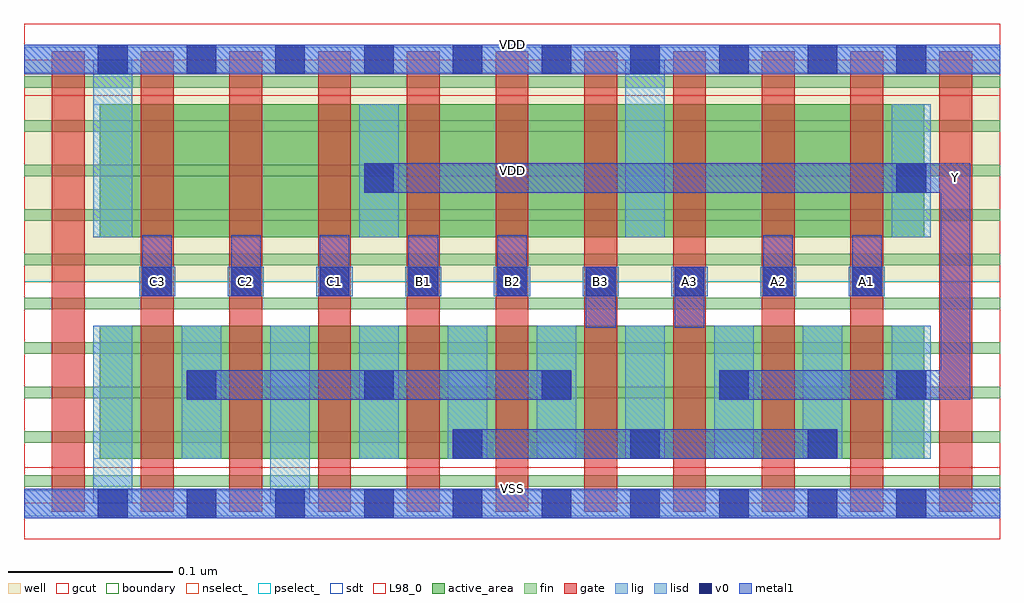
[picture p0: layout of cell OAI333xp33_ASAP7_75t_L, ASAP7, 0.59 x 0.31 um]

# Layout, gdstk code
import gdstk
lib = gdstk.Library(unit=1e-6, precision=2.5e-10)
def R(c, l, rs):  # rectangles x0, y0, x1, y1
    for r in rs: c.add(gdstk.rectangle(r[:2], r[2:], *l))
def A(c, l, x, y, w, h, nx, ny, dx, dy):  # array of equal rectangles
    R(c, l, [(x+i*dx, y+j*dy, x+i*dx+w, y+j*dy+h) for i in range(nx) for j in range(ny)])
def P(c, l, *ps):  # polygons
    for p in ps: c.add(gdstk.Polygon(p, *l))
well = (1, 0)
fin = (2, 0)
gate = (7, 0)
gcut = (10, 0)
active_area = (11, 0)
nselect_ = (12, 0)
pselect_ = (13, 0)
lig = (16, 0)
lisd = (17, 0)
v0 = (18, 0)
metal1 = (19, 0)
sdt = (88, 0)
L98_0 = (98, 0)
boundary = (100, 0)

oai333xp33_asap7_75t_l = lib.new_cell('OAI333xp33_ASAP7_75t_L')
R(oai333xp33_asap7_75t_l, well, [(0,0.135,0.594,0.27)])
A(oai333xp33_asap7_75t_l, fin, 0, 0.01, 0.594, 0.007, 1, 10, 0, 0.027)
A(oai333xp33_asap7_75t_l, gate, 0.017, -0.005, 0.02, 0.28, 11, 1, 0.054, 0)
R(oai333xp33_asap7_75t_l, gcut, [(0,-0.022,0.594,0.022), (0,0.248,0.594,0.292)])
R(oai333xp33_asap7_75t_l, active_area, [(0.046,0.027,0.548,0.108), (0.046,0.162,0.548,0.243)])
R(oai333xp33_asap7_75t_l, nselect_, [(0,0,0.594,0.135)])
R(oai333xp33_asap7_75t_l, pselect_, [(0,0.135,0.594,0.27)])
A(oai333xp33_asap7_75t_l, lig, 0.07, 0.126, 0.022, 0.018, 9, 1, 0.054, 0)
R(oai333xp33_asap7_75t_l, lig, [(0,-0.008,0.594,0.008), (0,0.262,0.594,0.278)])
A(oai333xp33_asap7_75t_l, lisd, 0.204, 0.027, 0.024, 0.081, 7, 1, 0.054, 0)
R(oai333xp33_asap7_75t_l, lisd, [(0.042,0,0.066,0.108), (0.042,0,0.066,0.108), (0.15,0,0.174,0.108), (0.15,0,0.174,0.108), (0.096,0.027,0.12,0.108), (0.042,0.162,0.066,0.27), (0.042,0.162,0.066,0.27), (0.204,0.162,0.228,0.243), (0.366,0.162,0.39,0.27), (0.366,0.162,0.39,0.27), (0.528,0.162,0.552,0.243)])
A(oai333xp33_asap7_75t_l, v0, 0.045, -0.009, 0.018, 0.018, 10, 2, 0.054, 0.27)
A(oai333xp33_asap7_75t_l, v0, 0.261, 0.027, 0.018, 0.018, 3, 1, 0.108, 0)
A(oai333xp33_asap7_75t_l, v0, 0.099, 0.063, 0.018, 0.018, 5, 1, 0.108, 0)
A(oai333xp33_asap7_75t_l, v0, 0.072, 0.126, 0.018, 0.018, 9, 1, 0.054, 0)
R(oai333xp33_asap7_75t_l, v0, [(0.207,0.189,0.225,0.207), (0.531,0.189,0.549,0.207)])
A(oai333xp33_asap7_75t_l, metal1, 0.261, 0.027, 0.018, 0.018, 3, 1, 0.108, 0)
A(oai333xp33_asap7_75t_l, metal1, 0.099, 0.063, 0.018, 0.018, 5, 1, 0.108, 0)
A(oai333xp33_asap7_75t_l, metal1, 0.072, 0.126, 0.018, 0.018, 9, 1, 0.054, 0)
A(oai333xp33_asap7_75t_l, metal1, 0.072, 0.126, 0.018, 0.037, 5, 1, 0.054, 0)
R(oai333xp33_asap7_75t_l, metal1, [(0,-0.009,0.594,0.009), (0.261,0.027,0.495,0.045), (0.099,0.063,0.333,0.081), (0.342,0.107,0.36,0.144), (0.396,0.107,0.414,0.144), (0.45,0.126,0.468,0.163), (0.504,0.126,0.522,0.163), (0.207,0.189,0.225,0.207), (0.531,0.189,0.549,0.207), (0,0.261,0.594,0.279)])
P(oai333xp33_asap7_75t_l, metal1, [(0.207,0.207),(0.207,0.189),(0.558,0.189),(0.558,0.081),(0.423,0.081),(0.423,0.063),(0.576,0.063),(0.576,0.207)])
A(oai333xp33_asap7_75t_l, sdt, 0.042, 0.027, 0.024, 0.081, 3, 1, 0.054, 0)
A(oai333xp33_asap7_75t_l, sdt, 0.15, 0.027, 0.024, 0.081, 8, 1, 0.054, 0)
A(oai333xp33_asap7_75t_l, sdt, 0.042, 0.162, 0.024, 0.081, 3, 1, 0.162, 0)
R(oai333xp33_asap7_75t_l, sdt, [(0.042,0.027,0.066,0.108), (0.042,0.162,0.066,0.243), (0.366,0.162,0.39,0.243), (0.528,0.162,0.552,0.243)])
R(oai333xp33_asap7_75t_l, L98_0, [(0,0,0.594,0.27)])
R(oai333xp33_asap7_75t_l, boundary, [(0,0,0.594,0.27)])
oai333xp33_asap7_75t_l.add(gdstk.Label('VDD', (0.297,0.2025), layer=1, texttype=251))
oai333xp33_asap7_75t_l.add(gdstk.Label('VSS', (0.297,-0.0675), layer=3, texttype=251))
oai333xp33_asap7_75t_l.add(gdstk.Label('VSS', (0.297,0.009), layer=19, texttype=251))
oai333xp33_asap7_75t_l.add(gdstk.Label('VDD', (0.297,0.279), layer=19, texttype=251))
oai333xp33_asap7_75t_l.add(gdstk.Label('C3', (0.081,0.135), layer=19, texttype=251))
oai333xp33_asap7_75t_l.add(gdstk.Label('C2', (0.135,0.135), layer=19, texttype=251))
oai333xp33_asap7_75t_l.add(gdstk.Label('C1', (0.189,0.135), layer=19, texttype=251))
oai333xp33_asap7_75t_l.add(gdstk.Label('Y', (0.567,0.198), layer=19, texttype=251))
oai333xp33_asap7_75t_l.add(gdstk.Label('B1', (0.243,0.135), layer=19, texttype=251))
oai333xp33_asap7_75t_l.add(gdstk.Label('B2', (0.297,0.135), layer=19, texttype=251))
oai333xp33_asap7_75t_l.add(gdstk.Label('B3', (0.351,0.135), layer=19, texttype=251))
oai333xp33_asap7_75t_l.add(gdstk.Label('A3', (0.405,0.135), layer=19, texttype=251))
oai333xp33_asap7_75t_l.add(gdstk.Label('A2', (0.459,0.135), layer=19, texttype=251))
oai333xp33_asap7_75t_l.add(gdstk.Label('A1', (0.513,0.135), layer=19, texttype=251))

lib.write_gds('OAI333xp33_ASAP7_75t_L.gds')
